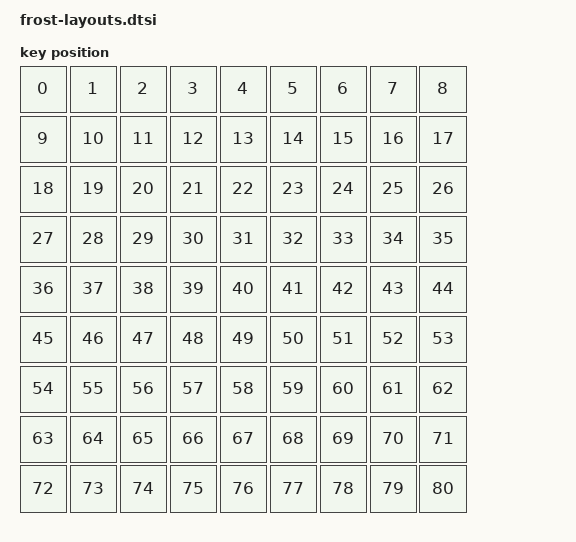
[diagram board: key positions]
#include <physical_layouts.dtsi>

/ {
    frost_layout: frost_layout {
        compatible = "zmk,physical-layout";
        display-name = "Frost 9x9 Layout";

        keys = <
            /* Row 1 */
            <&key_physical_attrs 100 100   0    0    0 0 0>,
            <&key_physical_attrs 100 100 100    0    0 0 0>,
            <&key_physical_attrs 100 100 200    0    0 0 0>,
            <&key_physical_attrs 100 100 300    0    0 0 0>,
            <&key_physical_attrs 100 100 400    0    0 0 0>,
            <&key_physical_attrs 100 100 500    0    0 0 0>,
            <&key_physical_attrs 100 100 600    0    0 0 0>,
            <&key_physical_attrs 100 100 700    0    0 0 0>,
            <&key_physical_attrs 100 100 800    0    0 0 0>,

            /* Row 2 */
            <&key_physical_attrs 100 100   0  100    0 0 0>,
            <&key_physical_attrs 100 100 100  100    0 0 0>,
            <&key_physical_attrs 100 100 200  100    0 0 0>,
            <&key_physical_attrs 100 100 300  100    0 0 0>,
            <&key_physical_attrs 100 100 400  100    0 0 0>,
            <&key_physical_attrs 100 100 500  100    0 0 0>,
            <&key_physical_attrs 100 100 600  100    0 0 0>,
            <&key_physical_attrs 100 100 700  100    0 0 0>,
            <&key_physical_attrs 100 100 800  100    0 0 0>,

            /* Row 3 */
            <&key_physical_attrs 100 100   0  200    0 0 0>,
            <&key_physical_attrs 100 100 100  200    0 0 0>,
            <&key_physical_attrs 100 100 200  200    0 0 0>,
            <&key_physical_attrs 100 100 300  200    0 0 0>,
            <&key_physical_attrs 100 100 400  200    0 0 0>,
            <&key_physical_attrs 100 100 500  200    0 0 0>,
            <&key_physical_attrs 100 100 600  200    0 0 0>,
            <&key_physical_attrs 100 100 700  200    0 0 0>,
            <&key_physical_attrs 100 100 800  200    0 0 0>,

            /* Row 4 */
            <&key_physical_attrs 100 100   0  300    0 0 0>,
            <&key_physical_attrs 100 100 100  300    0 0 0>,
            <&key_physical_attrs 100 100 200  300    0 0 0>,
            <&key_physical_attrs 100 100 300  300    0 0 0>,
            <&key_physical_attrs 100 100 400  300    0 0 0>,
            <&key_physical_attrs 100 100 500  300    0 0 0>,
            <&key_physical_attrs 100 100 600  300    0 0 0>,
            <&key_physical_attrs 100 100 700  300    0 0 0>,
            <&key_physical_attrs 100 100 800  300    0 0 0>,

            /* Row 5 */
            <&key_physical_attrs 100 100   0  400    0 0 0>,
            <&key_physical_attrs 100 100 100  400    0 0 0>,
            <&key_physical_attrs 100 100 200  400    0 0 0>,
            <&key_physical_attrs 100 100 300  400    0 0 0>,
            <&key_physical_attrs 100 100 400  400    0 0 0>,
            <&key_physical_attrs 100 100 500  400    0 0 0>,
            <&key_physical_attrs 100 100 600  400    0 0 0>,
            <&key_physical_attrs 100 100 700  400    0 0 0>,
            <&key_physical_attrs 100 100 800  400    0 0 0>,

            /* Row 6 */
            <&key_physical_attrs 100 100   0  500    0 0 0>,
            <&key_physical_attrs 100 100 100  500    0 0 0>,
            <&key_physical_attrs 100 100 200  500    0 0 0>,
            <&key_physical_attrs 100 100 300  500    0 0 0>,
            <&key_physical_attrs 100 100 400  500    0 0 0>,
            <&key_physical_attrs 100 100 500  500    0 0 0>,
            <&key_physical_attrs 100 100 600  500    0 0 0>,
            <&key_physical_attrs 100 100 700  500    0 0 0>,
            <&key_physical_attrs 100 100 800  500    0 0 0>,

            /* Row 7 */
            <&key_physical_attrs 100 100   0  600    0 0 0>,
            <&key_physical_attrs 100 100 100  600    0 0 0>,
            <&key_physical_attrs 100 100 200  600    0 0 0>,
            <&key_physical_attrs 100 100 300  600    0 0 0>,
            <&key_physical_attrs 100 100 400  600    0 0 0>,
            <&key_physical_attrs 100 100 500  600    0 0 0>,
            <&key_physical_attrs 100 100 600  600    0 0 0>,
            <&key_physical_attrs 100 100 700  600    0 0 0>,
            <&key_physical_attrs 100 100 800  600    0 0 0>,

            /* Row 8 */
            <&key_physical_attrs 100 100   0  700    0 0 0>,
            <&key_physical_attrs 100 100 100  700    0 0 0>,
            <&key_physical_attrs 100 100 200  700    0 0 0>,
            <&key_physical_attrs 100 100 300  700    0 0 0>,
            <&key_physical_attrs 100 100 400  700    0 0 0>,
            <&key_physical_attrs 100 100 500  700    0 0 0>,
            <&key_physical_attrs 100 100 600  700    0 0 0>,
            <&key_physical_attrs 100 100 700  700    0 0 0>,
            <&key_physical_attrs 100 100 800  700    0 0 0>,

            /* Row 9 */
            <&key_physical_attrs 100 100   0  800    0 0 0>,
            <&key_physical_attrs 100 100 100  800    0 0 0>,
            <&key_physical_attrs 100 100 200  800    0 0 0>,
            <&key_physical_attrs 100 100 300  800    0 0 0>,
            <&key_physical_attrs 100 100 400  800    0 0 0>,
            <&key_physical_attrs 100 100 500  800    0 0 0>,
            <&key_physical_attrs 100 100 600  800    0 0 0>,
            <&key_physical_attrs 100 100 700  800    0 0 0>,
            <&key_physical_attrs 100 100 800  800    0 0 0>
        >;
    };
};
